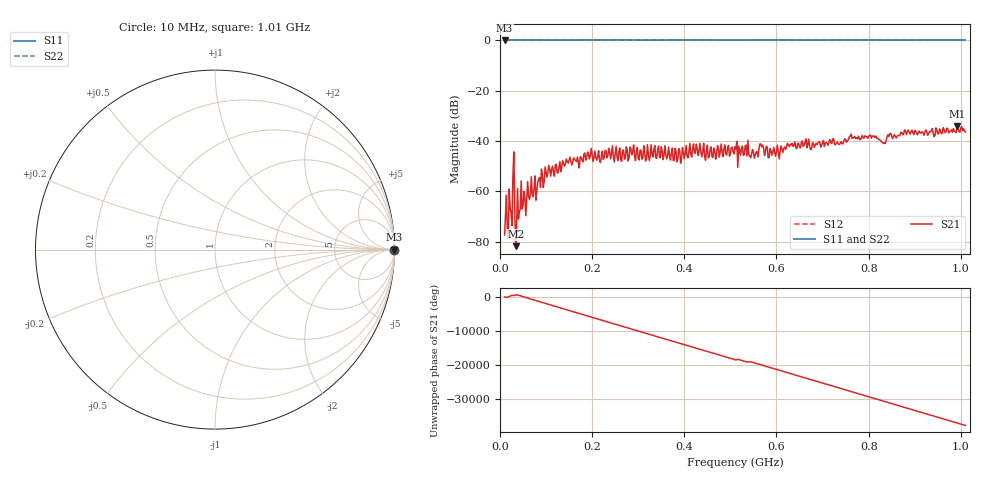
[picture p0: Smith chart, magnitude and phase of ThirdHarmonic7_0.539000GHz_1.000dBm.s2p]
! 8/17/2025 4:10:15 PM
! C:\ANRITSUVNA\TEMP\TEMP.S2P
! CHANNEL.1
! TR.MEASUREMENT
! RAW.DATA
! RF.CORRECTION.OFF
! AVERAGING.OFF
! IF.BANDWIDTH: 5KHZ
! SWEEPTYPE:  FREQ.SWEEP(Linear)
! Reference Plane Port Info
! PORT:  PORT1  PORT2
! DISTANCE:  0  m  0  m
! TIME:  0  s  0  s
! PHASE.OFFSET:  0  deg.  0  deg.
! LOSS:  0  dB  0  dB
! REF.LOSS:  0  dB  0  dB
! REF.FREQ:  0  Hz  0  Hz
! Power Info
! POWER:  -20  dBm  -20  dBm
! EFF.POWER:  -20  dBm  -20  dBm
! SOURCE.ATTEN:  0  dB  0  dB
! TEST.ATTEN:  0  dB  0  dB
# GHZ S RI R 50.0
! FREQ.GHZ  S11RE  S11IM  S21RE  S21IM  S12RE  S12IM  S22RE  S22IM
!; PortSelection: Port_12
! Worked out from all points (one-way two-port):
!   501 points, 10 MHz to 1.01 GHz, reference 50 ohm
!   highest |S21| = -34.17 dB at 992 MHz (marker M1); lowest = -81.8 dB at 34 MHz (marker M2)
!   lowest |S11| = 0.0 dB at 10 MHz (marker M3)
!   |S11| at or under -10 dB: nowhere
!   |S22| runs from 0.0 to 0.0 dB; largest |S21 - S12| = 1
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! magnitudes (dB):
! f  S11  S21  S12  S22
! 10 MHz  0.0  -77.4  0.0  0.0
! 22 MHz  0.0  -66.8  0.0  0.0
! 26 MHz  0.0  -73.6  0.0  0.0
! 34 MHz  0.0  -81.8  0.0  0.0
! 36 MHz  0.0  -74.2  0.0  0.0
! 38 MHz  0.0  -58.9  0.0  0.0
! 42 MHz  0.0  -68.2  0.0  0.0
! 50 MHz  0.0  -65.8  0.0  0.0
! 52 MHz  0.0  -60.1  0.0  0.0
! 102 MHz  0.0  -54.4  0.0  0.0
! 178 MHz  0.0  -47.6  0.0  0.0
! 344 MHz  0.0  -42.0  0.0  0.0
! 510 MHz  0.0  -42.3  0.0  0.0
! 556 MHz  0.0  -44.4  0.0  0.0
! 568 MHz  0.0  -42.3  0.0  0.0
! 586 MHz  0.0  -43.0  0.0  0.0
! 678 MHz  0.0  -40.8  0.0  0.0
! 762 MHz  0.0  -37.2  0.0  0.0
! 832 MHz  0.0  -41.0  0.0  0.0
! 844 MHz  0.0  -38.3  0.0  0.0
! 992 MHz  0.0  -34.2  0.0  0.0
! 1.01 GHz  0.0  -36.4  0.0  0.0
